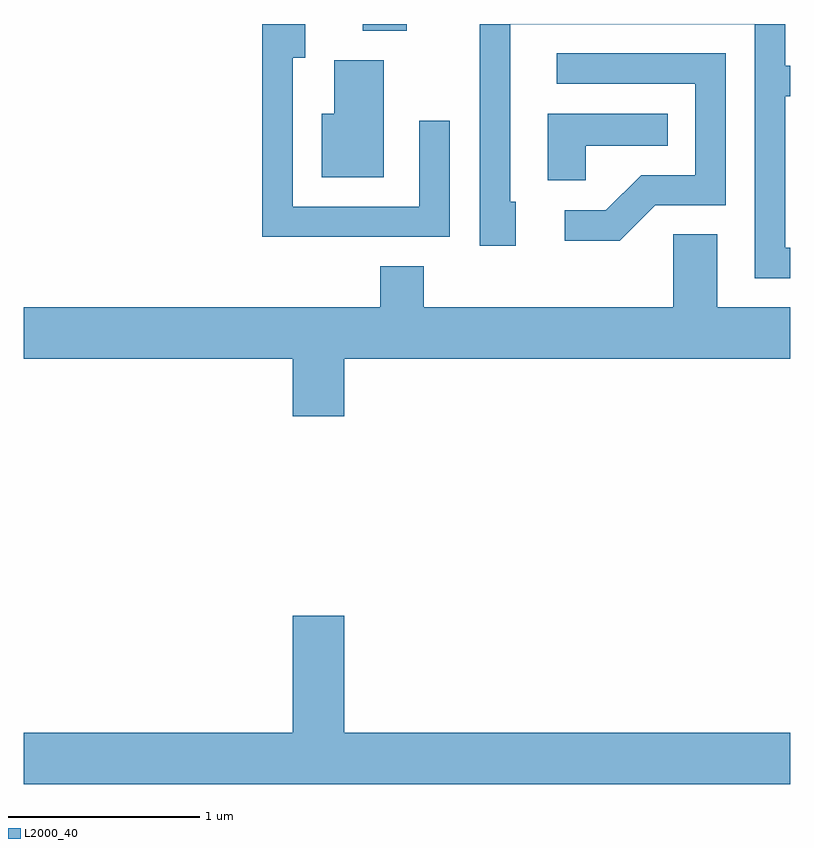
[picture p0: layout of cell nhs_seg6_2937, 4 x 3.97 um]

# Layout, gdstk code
import gdstk
lib = gdstk.Library(unit=1e-6, precision=1e-09)
def R(c, l, rs):  # rectangles x0, y0, x1, y1
    for r in rs: c.add(gdstk.rectangle(r[:2], r[2:], *l))
def P(c, l, *ps):  # polygons
    for p in ps: c.add(gdstk.Polygon(p, *l))
L2000_40 = (2000, 40)

nhs_seg6_2937 = lib.new_cell('nhs_seg6_2937')
R(nhs_seg6_2937, L2000_40, [(275.381,1616.126,275.609,1616.162)])
P(nhs_seg6_2937, L2000_40, [(277.611,1614.994),(277.584,1614.994),(277.584,1615.786),(277.611,1615.786),(277.611,1615.944),(277.584,1615.944),(277.584,1616.162),(275.991,1616.162),(275.991,1615.006),(276.179,1615.006),(276.179,1615.234),(276.149,1615.234),(276.149,1616.161),(277.426,1616.161),(277.426,1614.836),(277.611,1614.836)],
  [(275.834,1615.658),(275.676,1615.658),(275.676,1615.209),(275.014,1615.209),(275.014,1615.986),(275.079,1615.986),(275.079,1616.162),(274.856,1616.162),(274.856,1615.051),(275.834,1615.051)],
  [(276.907,1615.216),(277.274,1615.216),(277.274,1616.009),(276.393,1616.009),(276.393,1615.851),(277.116,1615.851),(277.116,1615.374),(276.834,1615.374),(276.649,1615.189),(276.433,1615.189),(276.433,1615.031),(276.722,1615.031)],
  [(275.489,1615.974),(275.231,1615.974),(275.231,1615.694),(275.166,1615.694),(275.166,1615.361),(275.489,1615.361)],
  [(276.544,1615.526),(276.973,1615.526),(276.973,1615.694),(276.346,1615.694),(276.346,1615.346),(276.544,1615.346)],
  [(275.284,1614.416),(277.611,1614.416),(277.611,1614.684),(277.229,1614.684),(277.229,1615.064),(277.001,1615.064),(277.001,1614.684),(275.699,1614.684),(275.699,1614.899),(275.471,1614.899),(275.471,1614.684),(273.611,1614.684),(273.611,1614.416),(275.016,1614.416),(275.016,1614.116),(275.284,1614.116)],
  [(277.611,1612.464),(275.284,1612.464),(275.284,1613.074),(275.016,1613.074),(275.016,1612.464),(273.611,1612.464),(273.611,1612.196),(277.611,1612.196)])

lib.write_gds('nhs_seg6_2937.gds')
